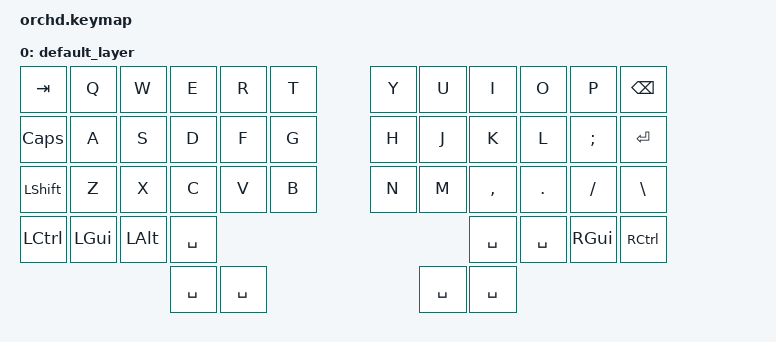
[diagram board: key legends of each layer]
/*
 * Copyright (c) 2020 The ZMK Contributors
 *
 * SPDX-License-Identifier: MIT
 */

#include <behaviors.dtsi>
#include <dt-bindings/zmk/keys.h>
#include <dt-bindings/zmk/bt.h>

/ {
        keymap {
                compatible = "zmk,keymap";

                default_layer {
// -----------------------------------------------------------------------------------------
// |  TAB |  Q  |  W  |  E  |  R  |  T  |   |  Y  |  U   |  I  |  O  |  P  | BSPC |
// | CTRL |  A  |  S  |  D  |  F  |  G  |   |  H  |  J   |  K  |  L  |  ;  |  '   |
// | SHFT |  Z  |  X  |  C  |  V  |  B  |   |  N  |  M   |  ,  |  .  |  /  | ESC  |
//                    | GUI | LWR | SPC |   | ENT | RSE  | ALT |
                        bindings = <
    &kp TAB  &kp Q  &kp W  &kp E  &kp R  &kp T          &kp Y &kp U &kp I &kp O &kp P &kp BSPC
    &kp CAPS &kp A &kp S &kp D &kp F &kp G              &kp H &kp J &kp K &kp L &kp SEMI &kp RET
    &kp LSHIFT &kp Z &kp X &kp C &kp V &kp B            &kp N &kp M &kp COMMA &kp DOT &kp FSLH &kp BSLH
    &kp LCTRL &kp LGUI &kp LALT &kp SPACE               &kp SPACE &kp SPACE &kp RGUI &kp RCTRL
                        &kp SPACE &kp SPACE             &kp SPACE &kp SPACE
                        >;
                };
        };
};
